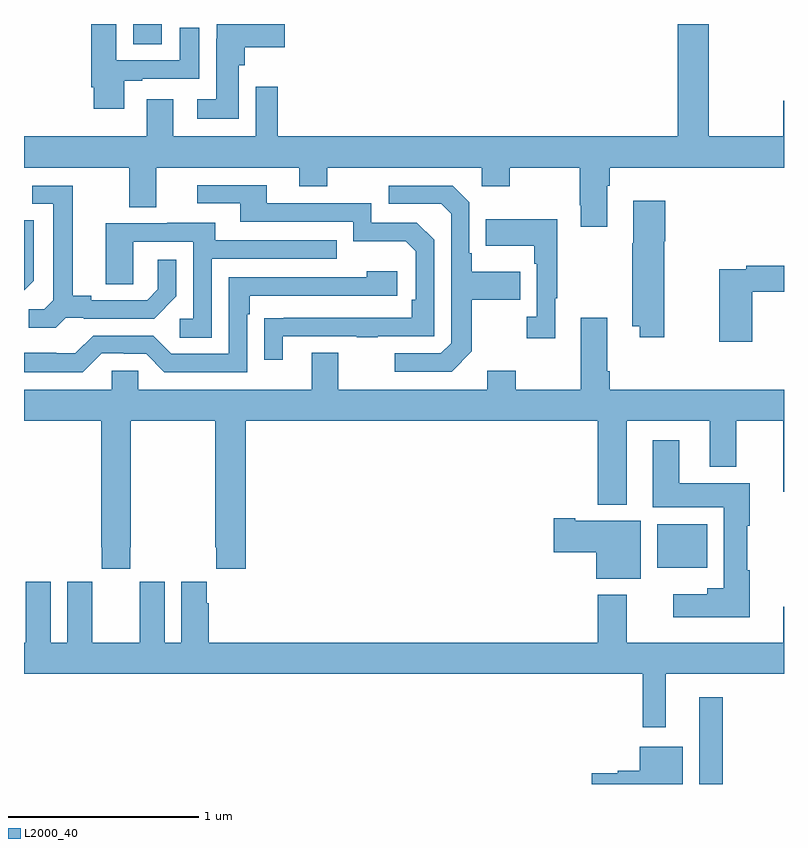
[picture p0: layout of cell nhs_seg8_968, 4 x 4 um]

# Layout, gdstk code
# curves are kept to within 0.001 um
import gdstk
lib = gdstk.Library(unit=1e-6, precision=1e-09)
def R(c, l, rs):  # rectangles x0, y0, x1, y1
    for r in rs: c.add(gdstk.rectangle(r[:2], r[2:], *l))
def P(c, l, *ps):  # polygons
    for p in ps: c.add(gdstk.Polygon(p, *l))
L2000_40 = (2000, 40)

nhs_seg8_968 = lib.new_cell('nhs_seg8_968')
R(nhs_seg8_968, L2000_40, [(176.555,1135.9,176.677,1136.356), (176.333,1137.038,176.596,1137.268), (173.576,1139.794,173.725,1139.9)])
P(nhs_seg8_968, L2000_40, [(173.527,1139.601),(173.623,1139.601),(173.623,1139.613),(173.923,1139.613),(173.923,1139.881),(173.819,1139.881),(173.819,1139.709),(173.485,1139.709),(173.485,1139.9),(173.354,1139.9),(173.354,1139.566),(173.366,1139.566),(173.366,1139.454),(173.527,1139.454)],
  [(174.13,1139.682),(174.161,1139.682),(174.161,1139.777),(174.373,1139.777),(174.373,1139.9),(174.015,1139.9),(174.015,1139.822),(174.011,1139.822),(174.011,1139.503),(173.913,1139.503),(173.913,1139.402),(174.13,1139.402)],
  [(176.071,1139.048),(176.084,1139.048),(176.084,1139.144),(177,1139.144),(177,1139.497),(176.996,1139.497),(176.996,1139.308),(176.605,1139.308),(176.605,1139.9),(176.441,1139.9),(176.441,1139.308),(174.335,1139.308),(174.335,1139.569),(174.219,1139.569),(174.219,1139.308),(173.785,1139.308),(173.785,1139.503),(173.645,1139.503),(173.645,1139.308),(173,1139.308),(173,1139.144),(173.555,1139.144),(173.555,1138.936),(173.695,1138.936),(173.695,1139.144),(174.449,1139.144),(174.449,1139.045),(174.597,1139.045),(174.597,1139.144),(175.41,1139.144),(175.41,1139.045),(175.557,1139.045),(175.557,1139.144),(175.924,1139.144),(175.924,1138.945),(175.931,1138.945),(175.931,1138.833),(176.071,1138.833)],
  [(174.361,1138.257),(174.751,1138.257),(174.751,1138.252),(174.863,1138.252),(174.863,1138.257),(175.158,1138.257),(175.158,1138.764),(175.068,1138.854),(174.828,1138.854),(174.828,1138.956),(174.277,1138.956),(174.277,1139.052),(173.913,1139.052),(173.913,1138.956),(174.137,1138.956),(174.137,1138.86),(174.732,1138.86),(174.732,1138.757),(175.009,1138.757),(175.062,1138.704),(175.062,1138.45),(175.042,1138.45),(175.042,1138.353),(174.265,1138.352),(174.265,1138.134),(174.361,1138.134)],
  [(175.357,1138.177),(175.357,1138.45),(175.613,1138.45),(175.613,1138.597),(175.357,1138.597),(175.357,1138.693),(175.344,1138.693),(175.344,1138.962),(175.257,1139.049),(174.921,1139.049),(174.921,1138.953),(175.197,1138.953),(175.248,1138.902),(175.248,1138.221),(175.194,1138.167),(174.951,1138.167),(174.951,1138.071),(175.251,1138.071)],
  [(173.22,1138.353),(173.314,1138.353),(173.314,1138.35),(173.686,1138.35),(173.802,1138.466),(173.802,1138.66),(173.705,1138.66),(173.705,1138.503),(173.648,1138.446),(173.353,1138.446),(173.353,1138.469),(173.257,1138.469),(173.257,1139.049),(173.043,1139.049),(173.043,1138.953),(173.153,1138.953),(173.153,1138.445),(173.106,1138.398),(173.025,1138.398),(173.025,1138.301),(173.168,1138.301)],
  [(176.37,1138.756),(176.375,1138.756),(176.375,1138.969),(176.207,1138.969),(176.207,1138.745),(176.2,1138.745),(176.2,1138.31),(176.24,1138.31),(176.24,1138.251),(176.37,1138.251)],
  [(175.795,1138.457),(175.807,1138.457),(175.807,1138.873),(175.429,1138.873),(175.429,1138.733),(175.686,1138.733),(175.686,1138.637),(175.698,1138.637),(175.698,1138.358),(175.647,1138.358),(175.647,1138.245),(175.795,1138.245)],
  [(173.052,1138.55),(173.052,1138.868),(173,1138.868),(173,1138.498)],
  [(173.988,1138.665),(174.647,1138.665),(174.647,1138.761),(174.007,1138.761),(174.007,1138.855),(173.753,1138.855),(173.753,1138.851),(173.429,1138.851),(173.429,1138.531),(173.574,1138.531),(173.574,1138.755),(173.892,1138.755),(173.892,1138.35),(173.82,1138.35),(173.82,1138.249),(173.988,1138.249)],
  [(176.832,1138.492),(177,1138.492),(177,1138.628),(176.8,1138.628),(176.8,1138.608),(176.659,1138.608),(176.659,1138.227),(176.832,1138.227)],
  [(173.409,1138.167),(173.525,1138.167),(173.525,1138.164),(173.643,1138.164),(173.739,1138.068),(174.174,1138.068),(174.174,1138.373),(174.187,1138.373),(174.187,1138.47),(174.964,1138.47),(174.964,1138.6),(174.803,1138.6),(174.803,1138.566),(174.078,1138.566),(174.078,1138.164),(173.775,1138.164),(173.679,1138.26),(173.364,1138.26),(173.271,1138.167),(173.171,1138.167),(173.171,1138.171),(173,1138.171),(173,1138.067),(173.309,1138.067)],
  [(173.559,1137.145),(173.562,1137.145),(173.562,1137.812),(174.007,1137.812),(174.007,1137.145),(174.013,1137.145),(174.013,1137.033),(174.167,1137.033),(174.167,1137.812),(176.021,1137.812),(176.021,1137.371),(176.173,1137.371),(176.173,1137.812),(176.609,1137.812),(176.609,1137.569),(176.749,1137.569),(176.749,1137.812),(176.996,1137.812),(176.996,1137.438),(177,1137.438),(177,1137.976),(176.084,1137.976),(176.084,1138.072),(176.071,1138.072),(176.071,1138.354),(175.931,1138.354),(175.931,1137.976),(175.587,1137.976),(175.587,1138.075),(175.439,1138.075),(175.439,1137.976),(174.655,1137.976),(174.655,1138.171),(174.515,1138.171),(174.515,1137.976),(173.601,1137.976),(173.601,1138.074),(173.463,1138.074),(173.463,1137.976),(173,1137.976),(173,1137.812),(173.407,1137.812),(173.407,1137.145),(173.409,1137.145),(173.409,1137.033),(173.559,1137.033)],
  [(176.819,1137.025),(176.806,1137.025),(176.806,1137.26),(176.819,1137.26),(176.819,1137.484),(176.449,1137.484),(176.449,1137.709),(176.309,1137.709),(176.309,1137.356),(176.684,1137.356),(176.684,1136.929),(176.597,1136.929),(176.597,1136.899),(176.418,1136.899),(176.418,1136.777),(176.819,1136.777)],
  [(176.245,1137.286),(175.9,1137.286),(175.9,1137.299),(175.788,1137.299),(175.788,1137.121),(176.012,1137.121),(176.012,1136.981),(176.245,1136.981)],
  [(176.377,1136.48),(177,1136.48),(177,1136.833),(176.996,1136.833),(176.996,1136.644),(176.173,1136.644),(176.173,1136.896),(176.021,1136.896),(176.021,1136.644),(173.972,1136.644),(173.972,1136.852),(173.962,1136.852),(173.962,1136.965),(173.828,1136.965),(173.828,1136.644),(173.74,1136.644),(173.74,1136.965),(173.61,1136.965),(173.61,1136.852),(173.609,1136.852),(173.609,1136.644),(173.359,1136.644),(173.359,1136.852),(173.358,1136.852),(173.358,1136.965),(173.228,1136.965),(173.228,1136.644),(173.14,1136.644),(173.14,1136.965),(173.01,1136.965),(173.01,1136.852),(173.009,1136.852),(173.009,1136.644),(173,1136.644),(173,1136.48),(176.256,1136.48),(176.256,1136.199),(176.377,1136.199)],
  [(176.467,1136.095),(176.24,1136.095),(176.24,1135.97),(176.124,1135.97),(176.124,1135.957),(175.988,1135.957),(175.988,1135.9),(176.467,1135.9)])

lib.write_gds('nhs_seg8_968.gds')
